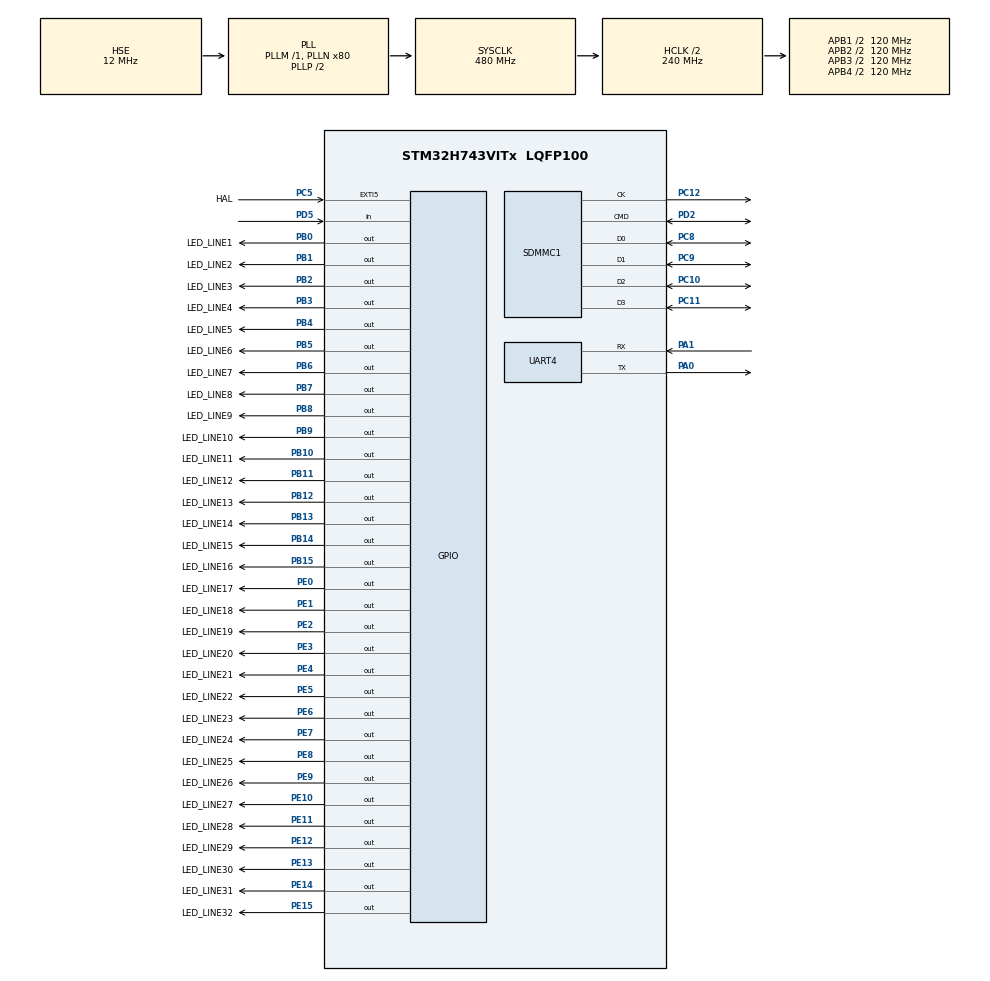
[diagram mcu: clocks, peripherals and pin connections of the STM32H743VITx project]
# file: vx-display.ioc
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CORTEX_M7.default_mode_Activation=1
Dma.DMA_GENERATOR0.0.Direction=DMA_MEMORY_TO_PERIPH
Dma.DMA_GENERATOR0.0.EventEnable=DISABLE
Dma.DMA_GENERATOR0.0.FIFOMode=DMA_FIFOMODE_DISABLE
Dma.DMA_GENERATOR0.0.Instance=DMA1_Stream0
Dma.DMA_GENERATOR0.0.MemDataAlignment=DMA_MDATAALIGN_BYTE
Dma.DMA_GENERATOR0.0.MemInc=DMA_MINC_ENABLE
Dma.DMA_GENERATOR0.0.Mode=DMA_NORMAL
Dma.DMA_GENERATOR0.0.PeriphDataAlignment=DMA_PDATAALIGN_BYTE
Dma.DMA_GENERATOR0.0.PeriphInc=DMA_PINC_DISABLE
Dma.DMA_GENERATOR0.0.Polarity=HAL_DMAMUX_REQ_GEN_RISING
Dma.DMA_GENERATOR0.0.Priority=DMA_PRIORITY_VERY_HIGH
Dma.DMA_GENERATOR0.0.RequestNumber=1
Dma.DMA_GENERATOR0.0.SignalID=NONE
Dma.DMA_GENERATOR0.0.SyncEnable=DISABLE
Dma.DMA_GENERATOR0.0.SyncPolarity=HAL_DMAMUX_SYNC_NO_EVENT
Dma.DMA_GENERATOR0.0.SyncRequestNumber=1
Dma.DMA_GENERATOR0.0.SyncSignalID=NONE
Dma.DMA_GENERATOR1.1.Direction=DMA_MEMORY_TO_PERIPH
Dma.DMA_GENERATOR1.1.EventEnable=DISABLE
Dma.DMA_GENERATOR1.1.FIFOMode=DMA_FIFOMODE_DISABLE
Dma.DMA_GENERATOR1.1.Instance=DMA1_Stream1
Dma.DMA_GENERATOR1.1.MemDataAlignment=DMA_MDATAALIGN_WORD
Dma.DMA_GENERATOR1.1.MemInc=DMA_MINC_ENABLE
Dma.DMA_GENERATOR1.1.Mode=DMA_NORMAL
Dma.DMA_GENERATOR1.1.PeriphDataAlignment=DMA_PDATAALIGN_WORD
Dma.DMA_GENERATOR1.1.PeriphInc=DMA_PINC_DISABLE
Dma.DMA_GENERATOR1.1.Polarity=HAL_DMAMUX_REQ_GEN_RISING
Dma.DMA_GENERATOR1.1.Priority=DMA_PRIORITY_VERY_HIGH
Dma.DMA_GENERATOR1.1.RequestNumber=1
Dma.DMA_GENERATOR1.1.SignalID=NONE
Dma.DMA_GENERATOR1.1.SyncEnable=DISABLE
Dma.DMA_GENERATOR1.1.SyncPolarity=HAL_DMAMUX_SYNC_NO_EVENT
Dma.DMA_GENERATOR1.1.SyncRequestNumber=1
Dma.DMA_GENERATOR1.1.SyncSignalID=NONE
Dma.Request0=DMA_GENERATOR0
Dma.Request1=DMA_GENERATOR1
Dma.Request2=TIM1_UP
Dma.Request3=TIM1_COM
Dma.Request4=TIM2_UP
Dma.Request5=UART4_RX
Dma.Request6=UART4_TX
Dma.TIM1_COM.3.Direction=DMA_PERIPH_TO_MEMORY
Dma.TIM1_COM.3.EventEnable=DISABLE
Dma.TIM1_COM.3.FIFOMode=DMA_FIFOMODE_DISABLE
Dma.TIM1_COM.3.Instance=DMA1_Stream3
Dma.TIM1_COM.3.MemDataAlignment=DMA_MDATAALIGN_HALFWORD
Dma.TIM1_COM.3.MemInc=DMA_MINC_ENABLE
Dma.TIM1_COM.3.Mode=DMA_NORMAL
Dma.TIM1_COM.3.PeriphDataAlignment=DMA_PDATAALIGN_HALFWORD
Dma.TIM1_COM.3.PeriphInc=DMA_PINC_DISABLE
Dma.TIM1_COM.3.Polarity=HAL_DMAMUX_REQ_GEN_RISING
Dma.TIM1_COM.3.Priority=DMA_PRIORITY_LOW
Dma.TIM1_COM.3.RequestNumber=1
Dma.TIM1_COM.3.SignalID=NONE
Dma.TIM1_COM.3.SyncEnable=DISABLE
Dma.TIM1_COM.3.SyncPolarity=HAL_DMAMUX_SYNC_NO_EVENT
Dma.TIM1_COM.3.SyncRequestNumber=1
Dma.TIM1_COM.3.SyncSignalID=NONE
Dma.TIM1_UP.2.Direction=DMA_MEMORY_TO_PERIPH
Dma.TIM1_UP.2.EventEnable=DISABLE
Dma.TIM1_UP.2.FIFOMode=DMA_FIFOMODE_DISABLE
Dma.TIM1_UP.2.Instance=DMA1_Stream2
Dma.TIM1_UP.2.MemDataAlignment=DMA_MDATAALIGN_WORD
Dma.TIM1_UP.2.MemInc=DMA_MINC_ENABLE
Dma.TIM1_UP.2.Mode=DMA_NORMAL
Dma.TIM1_UP.2.PeriphDataAlignment=DMA_PDATAALIGN_WORD
Dma.TIM1_UP.2.PeriphInc=DMA_PINC_DISABLE
Dma.TIM1_UP.2.Polarity=HAL_DMAMUX_REQ_GEN_RISING
Dma.TIM1_UP.2.Priority=DMA_PRIORITY_VERY_HIGH
Dma.TIM1_UP.2.RequestNumber=1
Dma.TIM1_UP.2.SignalID=NONE
Dma.TIM1_UP.2.SyncEnable=DISABLE
Dma.TIM1_UP.2.SyncPolarity=HAL_DMAMUX_SYNC_NO_EVENT
Dma.TIM1_UP.2.SyncRequestNumber=1
Dma.TIM1_UP.2.SyncSignalID=NONE
Dma.TIM2_UP.4.Direction=DMA_MEMORY_TO_PERIPH
Dma.TIM2_UP.4.EventEnable=DISABLE
Dma.TIM2_UP.4.FIFOMode=DMA_FIFOMODE_DISABLE
Dma.TIM2_UP.4.Instance=DMA1_Stream4
Dma.TIM2_UP.4.MemDataAlignment=DMA_MDATAALIGN_WORD
Dma.TIM2_UP.4.MemInc=DMA_MINC_ENABLE
Dma.TIM2_UP.4.Mode=DMA_NORMAL
Dma.TIM2_UP.4.PeriphDataAlignment=DMA_PDATAALIGN_WORD
Dma.TIM2_UP.4.PeriphInc=DMA_PINC_DISABLE
Dma.TIM2_UP.4.Polarity=HAL_DMAMUX_REQ_GEN_RISING
Dma.TIM2_UP.4.Priority=DMA_PRIORITY_VERY_HIGH
Dma.TIM2_UP.4.RequestNumber=1
Dma.TIM2_UP.4.SignalID=NONE
Dma.TIM2_UP.4.SyncEnable=DISABLE
Dma.TIM2_UP.4.SyncPolarity=HAL_DMAMUX_SYNC_NO_EVENT
Dma.TIM2_UP.4.SyncRequestNumber=1
Dma.TIM2_UP.4.SyncSignalID=NONE
Dma.UART4_RX.5.Direction=DMA_PERIPH_TO_MEMORY
Dma.UART4_RX.5.EventEnable=DISABLE
Dma.UART4_RX.5.FIFOMode=DMA_FIFOMODE_DISABLE
Dma.UART4_RX.5.Instance=DMA1_Stream5
Dma.UART4_RX.5.MemDataAlignment=DMA_MDATAALIGN_BYTE
Dma.UART4_RX.5.MemInc=DMA_MINC_ENABLE
Dma.UART4_RX.5.Mode=DMA_NORMAL
Dma.UART4_RX.5.PeriphDataAlignment=DMA_PDATAALIGN_BYTE
Dma.UART4_RX.5.PeriphInc=DMA_PINC_DISABLE
Dma.UART4_RX.5.Polarity=HAL_DMAMUX_REQ_GEN_RISING
Dma.UART4_RX.5.Priority=DMA_PRIORITY_LOW
Dma.UART4_RX.5.RequestNumber=1
Dma.UART4_RX.5.SignalID=NONE
Dma.UART4_RX.5.SyncEnable=DISABLE
Dma.UART4_RX.5.SyncPolarity=HAL_DMAMUX_SYNC_NO_EVENT
Dma.UART4_RX.5.SyncRequestNumber=1
Dma.UART4_RX.5.SyncSignalID=NONE
Dma.UART4_TX.6.Direction=DMA_MEMORY_TO_PERIPH
Dma.UART4_TX.6.EventEnable=DISABLE
Dma.UART4_TX.6.FIFOMode=DMA_FIFOMODE_DISABLE
Dma.UART4_TX.6.Instance=DMA1_Stream6
Dma.UART4_TX.6.MemDataAlignment=DMA_MDATAALIGN_BYTE
Dma.UART4_TX.6.MemInc=DMA_MINC_ENABLE
Dma.UART4_TX.6.Mode=DMA_NORMAL
Dma.UART4_TX.6.PeriphDataAlignment=DMA_PDATAALIGN_BYTE
Dma.UART4_TX.6.PeriphInc=DMA_PINC_DISABLE
Dma.UART4_TX.6.Polarity=HAL_DMAMUX_REQ_GEN_RISING
Dma.UART4_TX.6.Priority=DMA_PRIORITY_LOW
Dma.UART4_TX.6.RequestNumber=1
Dma.UART4_TX.6.SignalID=NONE
Dma.UART4_TX.6.SyncEnable=DISABLE
Dma.UART4_TX.6.SyncPolarity=HAL_DMAMUX_SYNC_NO_EVENT
Dma.UART4_TX.6.SyncRequestNumber=1
Dma.UART4_TX.6.SyncSignalID=NONE
FATFS.BSP.number=1
FATFS.USE_DMA_CODE_SD=1
FATFS._CODE_PAGE=437
FATFS._FS_EXFAT=1
FATFS._FS_TINY=0
FATFS._USE_LFN=2
FATFS0.BSP.STBoard=false
FATFS0.BSP.api=Unknown
FATFS0.BSP.instance=PD5
FATFS0.BSP.ip=GPIO
FATFS0.BSP.mode=Input
FATFS0.BSP.name=Detect_SDIO
FATFS0.BSP.solution=PD5
Mcu.Family=STM32H7
Mcu.Name=STM32H743VITx
Mcu.Package=LQFP100
NVIC.DMA1_Stream0_IRQn=true\:0\:0\:false\:false\:true\:true\:true\:true
NVIC.DMA1_Stream1_IRQn=true\:0\:0\:false\:false\:true\:true\:true\:true
NVIC.DMA1_Stream2_IRQn=true\:0\:0\:false\:false\:true\:false\:true\:true
NVIC.DMA1_Stream3_IRQn=true\:0\:0\:false\:false\:true\:false\:true\:true
NVIC.DMA1_Stream4_IRQn=true\:0\:0\:false\:false\:true\:false\:true\:true
NVIC.DMA1_Stream5_IRQn=true\:0\:0\:false\:false\:true\:false\:true\:true
NVIC.DMA1_Stream6_IRQn=true\:0\:0\:false\:false\:true\:false\:true\:true
NVIC.DMAMUX1_OVR_IRQn=true\:0\:0\:false\:false\:true\:false\:true\:true
NVIC.EXTI9_5_IRQn=true\:0\:0\:false\:false\:true\:true\:true\:true
NVIC.PriorityGroup=NVIC_PRIORITYGROUP_4
NVIC.SDMMC1_IRQn=true\:1\:0\:true\:false\:true\:true\:true\:true
NVIC.TIM3_IRQn=true\:1\:0\:true\:false\:true\:true\:true\:true
NVIC.UART4_IRQn=true\:3\:0\:true\:false\:true\:true\:true\:true
PA0.Mode=Asynchronous
PA0.Signal=UART4_TX
PA1.Mode=Asynchronous
PA1.Signal=UART4_RX
PA13\ (JTMS/SWDIO).Mode=Serial_Wire
PA13\ (JTMS/SWDIO).Signal=DEBUG_JTMS-SWDIO
PA14\ (JTCK/SWCLK).Mode=Serial_Wire
PA14\ (JTCK/SWCLK).Signal=DEBUG_JTCK-SWCLK
PB0.GPIO_Label=LED_LINE1
PB0.Signal=GPIO_Output
PB1.GPIO_Label=LED_LINE2
PB1.Signal=GPIO_Output
PB10.GPIO_Label=LED_LINE11
PB10.Signal=GPIO_Output
PB11.GPIO_Label=LED_LINE12
PB11.Signal=GPIO_Output
PB12.GPIO_Label=LED_LINE13
PB12.Signal=GPIO_Output
PB13.GPIO_Label=LED_LINE14
PB13.Signal=GPIO_Output
PB14.GPIO_Label=LED_LINE15
PB14.Signal=GPIO_Output
PB15.GPIO_Label=LED_LINE16
PB15.Signal=GPIO_Output
PB2.GPIO_Label=LED_LINE3
PB2.Signal=GPIO_Output
PB3\ (JTDO/TRACESWO).GPIO_Label=LED_LINE4
PB3\ (JTDO/TRACESWO).Signal=GPIO_Output
PB4\ (NJTRST).GPIO_Label=LED_LINE5
PB4\ (NJTRST).Signal=GPIO_Output
PB5.GPIO_Label=LED_LINE6
PB5.Signal=GPIO_Output
PB6.GPIO_Label=LED_LINE7
PB6.Signal=GPIO_Output
PB7.GPIO_Label=LED_LINE8
PB7.Signal=GPIO_Output
PB8.GPIO_Label=LED_LINE9
PB8.Signal=GPIO_Output
PB9.GPIO_Label=LED_LINE10
PB9.Signal=GPIO_Output
PC10.Mode=SD_4_bits_Wide_bus
PC10.Signal=SDMMC1_D2
PC11.Mode=SD_4_bits_Wide_bus
PC11.Signal=SDMMC1_D3
PC12.Mode=SD_4_bits_Wide_bus
PC12.Signal=SDMMC1_CK
PC5.GPIO_Label=HAL
PC5.GPIO_ModeDefaultEXTI=GPIO_MODE_IT_FALLING
PC5.Signal=GPXTI5
PC8.Mode=SD_4_bits_Wide_bus
PC8.Signal=SDMMC1_D0
PC9.Mode=SD_4_bits_Wide_bus
PC9.Signal=SDMMC1_D1
PD2.Mode=SD_4_bits_Wide_bus
PD2.Signal=SDMMC1_CMD
PD5.Signal=GPIO_Input
PE0.GPIO_Label=LED_LINE17
PE0.Signal=GPIO_Output
PE1.GPIO_Label=LED_LINE18
PE1.Signal=GPIO_Output
PE10.GPIO_Label=LED_LINE27
PE10.Signal=GPIO_Output
PE11.GPIO_Label=LED_LINE28
PE11.Signal=GPIO_Output
PE12.GPIO_Label=LED_LINE29
PE12.Signal=GPIO_Output
PE13.GPIO_Label=LED_LINE30
PE13.Signal=GPIO_Output
PE14.GPIO_Label=LED_LINE31
PE14.Signal=GPIO_Output
PE15.GPIO_Label=LED_LINE32
PE15.Signal=GPIO_Output
PE2.GPIO_Label=LED_LINE19
PE2.Signal=GPIO_Output
PE3.GPIO_Label=LED_LINE20
PE3.Signal=GPIO_Output
PE4.GPIO_Label=LED_LINE21
PE4.Signal=GPIO_Output
PE5.GPIO_Label=LED_LINE22
PE5.Signal=GPIO_Output
PE6.GPIO_Label=LED_LINE23
PE6.Signal=GPIO_Output
PE7.GPIO_Label=LED_LINE24
PE7.Signal=GPIO_Output
PE8.GPIO_Label=LED_LINE25
PE8.Signal=GPIO_Output
PE9.GPIO_Label=LED_LINE26
PE9.Signal=GPIO_Output
PH0-OSC_IN\ (PH0).Mode=HSE-External-Oscillator
PH0-OSC_IN\ (PH0).Signal=RCC_OSC_IN
PH1-OSC_OUT\ (PH1).Mode=HSE-External-Oscillator
PH1-OSC_OUT\ (PH1).Signal=RCC_OSC_OUT
ProjectManager.HeapSize=0x200
ProjectManager.StackSize=0x1000
ProjectManager.TargetToolchain=CMake
RCC.ADCFreq_Value=150000000
RCC.APB1Freq_Value=120000000
RCC.APB2Freq_Value=120000000
RCC.APB3Freq_Value=120000000
RCC.APB4Freq_Value=120000000
RCC.CortexFreq_Value=480000000
RCC.D1PPRE=RCC_APB3_DIV2
RCC.D2PPRE1=RCC_APB1_DIV2
RCC.D2PPRE2=RCC_APB2_DIV2
RCC.D3PPRE=RCC_APB4_DIV2
RCC.DIVM1=1
RCC.DIVM2=1
RCC.DIVN1=80
RCC.DIVN2=25
RCC.DIVQ1=3
RCC.DIVR2=3
RCC.EnbaleCSS=true
RCC.HCLKFreq_Value=240000000
RCC.HPRE=RCC_HCLK_DIV2
RCC.HSE_VALUE=12000000
RCC.PLL2FRACN=0
RCC.PLL3FRACN=0
RCC.PLLFRACN=0
RCC.PLLSourceVirtual=RCC_PLLSOURCE_HSE
RCC.SDMMC1CLockSelection=RCC_SDMMCCLKSOURCE_PLL2
RCC.SYSCLKFreq_VALUE=480000000
RCC.SYSCLKSource=RCC_SYSCLKSOURCE_PLLCLK
RCC.USBFreq_Value=320000000
RTC.Format=RTC_FORMAT_BIN
SDMMC1.ClockDiv=10
TIM1.Period=80
TIM2.Period=80
TIM3.Period=999
TIM3.Prescaler=239
VP_FATFS_VS_SDIO.Mode=SDIO
VP_MEMORYMAP_VS_MEMORYMAP.Mode=CurAppReg
VP_RTC_VS_RTC_Activate.Mode=RTC_Enabled
VP_RTC_VS_RTC_Calendar.Mode=RTC_Calendar
VP_TIM1_VS_ClockSourceINT.Mode=Internal
VP_TIM2_VS_ClockSourceINT.Mode=Internal
VP_TIM3_VS_ClockSourceINT.Mode=Internal
VP_TIM5_VS_ClockSourceINT.Mode=Internal
board=custom

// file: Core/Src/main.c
/* USER CODE BEGIN Header */
/**
  ******************************************************************************
  * @file           : main.c
  * @brief          : Main program body
  ******************************************************************************
  * @attention
  *
  * Copyright (c) 2026 STMicroelectronics.
  * All rights reserved.
  *
  * This software is licensed under terms that can be found in the LICENSE file
  * in the root directory of this software component.
  * If no LICENSE file comes with this software, it is provided AS-IS.
  *
  ******************************************************************************
  */
/* USER CODE END Header */
#include "main.h"
#include "dma.h"
#include "fatfs.h"
#include "rtc.h"
#include "sdmmc.h"
#include "tim.h"
#include "usart.h"
#include "gpio.h"

/* USER CODE BEGIN Includes */
#include "led_buffer.h"
#include "ws2812_driver.h"
#include "ws2812_code.h"
#include "ws2812_enable.h"
#include "ws2812_gpio.h"
#include "volume_buffer.h"
#include "volume_draw.h"
#include "volume_to_ws2812.h"
#include "volume_hall.h"
#include "motor_control.h"
#include <string.h>
#include <stdio.h>
#include "sd_animation.h"
#include "bt_commands.h"
#include "anim_player.h"
#include "anim_player_v2.h"
#include "anim_player_v3.h"
#include "slice_player.h"
#include "interaction_sphere.h"
#include "brush_mode.h"
#include "snake_game.h"

/* USER CODE END Includes */

/* USER CODE BEGIN PTD */
#define WS2812_TEST_LED_COUNT      24

/* 你使用 GPIOB 的 16 路和 GPIOD 的 16 路 */

/*
 * 这个值要等于你测试用 TIM 的计数频率，单位 MHz。
 *
 * 如果 TIM 计数频率是 200MHz，填 200。
 * 如果 TIM 计数频率是 100MHz，填 100。
 *
 * 你前面 TIM ARR=82 用于 0.416us slot，推测 TIM 频率大概率接近 200MHz，
 * 所以先用 200 测试。
 */
#define WS2812_TIM_TICKS_PER_US   80U

// WS2812 时序参数 @ 80MHz
// T0H = 350ns (28 ticks), T1H = 700ns (56 ticks)
// bit 周期统一 1.25us (100 ticks)
#define WS2812_T0H_TICKS       84U
#define WS2812_T1H_TICKS       168U
#define WS2812_BIT_TICKS       300U

#define WS2812_RESET_US        500U
/* USER CODE END PTD */

/* USER CODE BEGIN PV */
int flag_test=0;
extern TIM_HandleTypeDef htim1;
extern DMA_HandleTypeDef hdma_tim1_up;
extern TIM_HandleTypeDef htim2;
extern DMA_HandleTypeDef hdma_tim2_up;
#define WS2812_TEST_LED_COUNT      24
uint32_t s_phase_count  = 0;          // 累计渲染相位次数 (TIM3 ISR 引用)
static uint32_t s_last_count   = 0;          // 上一次上报时的计数
static uint32_t s_last_hw_ref   = 0;         // 上一次上报时的硬件刷新计数
static uint32_t s_last_hw_skp   = 0;         // 上一次上报时的跳过计数

// 蓝牙串口缓冲区 —— 必须放在 DMA 可访问的内存区域（DTCM 不行！）
static uint8_t rx_data[256] __attribute__((section(".RAM_D1")));
static uint8_t tx_buf[256] __attribute__((section(".RAM_D1")));

/*
 * 共享显示缓冲 (AXI SRAM, 225KB)
 * - 静态模式: slice_player 使用 (100片)
 * - 动画模式: anim_player 前端帧使用
 */
uint8_t g_display_buf[100 * 2304]
    __attribute__((section(".RAM_AXI"), used, aligned(32)));

/*
 * 共享 RAM_D2 缓冲 (225KB)
 * - :SAVE 模式: bt_commands 文件接收使用
 * - 动画模式: anim_player 后台帧使用
 */
uint8_t g_ramd2_buf[230416]
    __attribute__((section(".RAM_D1"), used, aligned(32)));
static uint32_t last_report_ticks = 0;   // 上一次蓝牙上报的 DWT 时间戳
static uint8_t  rx_needs_restart = 0;    // 标记：TX 完成后是否需要重启 RX
#define BT_REPORT_INTERVAL_US  1000000U  // 蓝牙状态上报间隔 1 秒

static volatile uint8_t is_need_reload_v3;  /* JE退出IS, 主循环重载V3 */

/* USER CODE END PV */

void SystemClock_Config(void);
static void MPU_Config(void);

int main(void)
{

  /* MPU Configuration--------------------------------------------------------*/
  MPU_Config();

  /* MCU Configuration--------------------------------------------------------*/

  /* Reset of all peripherals, Initializes the Flash interface and the Systick. */
  HAL_Init();

  /* Configure the system clock */
  SystemClock_Config();

  /* USER CODE BEGIN SysInit */
    SCB_EnableICache();
    SCB_EnableDCache();

    /* MPU: AXI SRAM (0x24000000) 设不可缓存, SDMMC IDMA 区不走 cache */
    {
        MPU_Region_InitTypeDef MPU_InitStruct = {0};
        HAL_MPU_Disable();
        /* Region 0 保持 CubeMX 原样 */
        MPU_InitStruct.Enable = MPU_REGION_ENABLE;
        MPU_InitStruct.Number = MPU_REGION_NUMBER0;
        MPU_InitStruct.BaseAddress = 0x0;
        MPU_InitStruct.Size = MPU_REGION_SIZE_4GB;
        MPU_InitStruct.SubRegionDisable = 0x87;
        MPU_InitStruct.TypeExtField = MPU_TEX_LEVEL0;
        MPU_InitStruct.AccessPermission = MPU_REGION_NO_ACCESS;
        MPU_InitStruct.DisableExec = MPU_INSTRUCTION_ACCESS_DISABLE;
        MPU_InitStruct.IsShareable = MPU_ACCESS_SHAREABLE;
        MPU_InitStruct.IsCacheable = MPU_ACCESS_NOT_CACHEABLE;
        MPU_InitStruct.IsBufferable = MPU_ACCESS_NOT_BUFFERABLE;
        HAL_MPU_ConfigRegion(&MPU_InitStruct);
        /* Region 1: AXI SRAM 不可缓存 */
        MPU_InitStruct.Number = MPU_REGION_NUMBER1;
        MPU_InitStruct.BaseAddress = 0x24000000;
        MPU_InitStruct.Size = MPU_REGION_SIZE_512KB;
        MPU_InitStruct.SubRegionDisable = 0x00;
        MPU_InitStruct.AccessPermission = MPU_REGION_FULL_ACCESS;
        MPU_InitStruct.DisableExec = MPU_INSTRUCTION_ACCESS_ENABLE;
        MPU_InitStruct.IsShareable = MPU_ACCESS_NOT_SHAREABLE;
        MPU_InitStruct.IsCacheable = MPU_ACCESS_NOT_CACHEABLE;
        MPU_InitStruct.IsBufferable = MPU_ACCESS_NOT_BUFFERABLE;
        HAL_MPU_ConfigRegion(&MPU_InitStruct);
        HAL_MPU_Enable(MPU_PRIVILEGED_DEFAULT);
    }
  /* USER CODE END SysInit */

  /* Initialize all configured peripherals */
  MX_GPIO_Init();
  MX_DMA_Init();
  MX_TIM1_Init();
  MX_TIM2_Init();
  MX_UART4_Init();
  MX_SDMMC1_SD_Init();
  MX_TIM5_Init();
  MX_FATFS_Init();
  MX_RTC_Init();
  MX_TIM3_Init();
  /* USER CODE BEGIN 2 */
    HAL_Delay(500); // 等待系统稳定
    VolumeHall_Init();                 // 启动 TIM5 + DWT + 霍尔计数
    MotorControl_Init();              // 启动电机转速计算
    VolumeToWS2812_Init();
    int ret = SD_LoadStaticModel("chiken.bin");
    if (ret != 0) {
        while (1) { __disable_irq(); }
    }

  /* 切片加载必须在 UART DMA 启动之前，避免 BLE 中断干扰 SD 卡读 */
  /*
   * SDMMC IDMA → RAM_D2 写入测试。
   * 验证 f_read 目标缓冲放在 RAM_D2 (0x30000000) 时 IDMA 是否能
   * 正确写入。失败时 MCU 停在此处。
   */
  {
      static uint8_t test_buf[16] __attribute__((section(".RAM_D1")));
      static FIL     test_fp __attribute__((section(".RAM_AXI")));
      UINT           br;
      if (f_open(&test_fp, "chiken.bin", FA_READ) != FR_OK
          || f_read(&test_fp, test_buf, 16, &br) != FR_OK
          || br != 16
          || memcmp(test_buf, "VXAN", 4) != 0) {
          while (1) { __disable_irq(); }
      }
      f_close(&test_fp);
  }

  SlicePlayer_Load("chiken.slices");  /* 确保 FS 已挂载 */

  if (AnimV3_Load("dna_v3_3t.slices") != 0) {
    if (AnimV2_Load("anim_rainbow.slices") != 0) {
      if (AnimPlayer_Load("anim_rainbow.slices") != 0) {
          /* V3/V2/V1动画均失败, 继续用静态 (SlicePlayer 已激活) */
      }
    }
  }

  IS_Init();  /* 粒子球交互系统: 预计算粒子 + 初始化双缓冲 */
  Brush_Init();  /* 3D画笔模式: 画布 + 光标 */
  Snake_Init();  /* 3D贪吃蛇游戏 */
  // TIM3 驱动相位刷新: 初始 1917us (313RPM 等效), 稳速后由霍尔自动更新
  htim3.Instance->ARR = 999;   // 1MHz tick, ARR+1=1000µs → 600RPM 默认
  __HAL_TIM_SET_COUNTER(&htim3, 0);
  HAL_TIM_Base_Start_IT(&htim3);
//   HAL_Delay(100);
//   HAL_UART_Transmit(&huart4, (uint8_t*)"AT+TRANMD=1", 11, 100);
//   HAL_Delay(100);
//   HAL_UART_Transmit(&huart4, (uint8_t*)"AT+RESET", 8, 100);
//   HAL_Delay(500);
  /* 蓝牙模块 AT 配置
  // HAL_UART_Transmit(&huart4, (uint8_t*)"AT", 2, 100);           // 测试通信（不需 +++）
  // HAL_Delay(100);
  // HAL_UART_Transmit(&huart4, (uint8_t*)"AT+ROLE=0", 9, 100);     // 从机模式
  // HAL_Delay(100);
  // HAL_UART_Transmit(&huart4, (uint8_t*)"AT+ADV=1", 8, 100);      // 开启广播
  // HAL_Delay(100);
  // HAL_UART_Transmit(&huart4, (uint8_t*)"AT+TRANMD=1", 11, 100);  // 透传模式（关键！)
  // HAL_Delay(100);
  // HAL_UART_Transmit(&huart4, (uint8_t*)"AT+RESET", 8, 100);      // 重启生效
  // HAL_Delay(500);*/
  // 使用Ex函数，接收不定长数据，开启蓝牙接收数据功能
  HAL_UARTEx_ReceiveToIdle_DMA(&huart4, rx_data, sizeof(rx_data));
  // 关闭DMA传输过半中断（HAL库默认开启，但我们只需要接收完成中断）
  __HAL_DMA_DISABLE_IT(huart4.hdmarx, DMA_IT_HT);

  last_report_ticks = DWT->CYCCNT;  // 初始化蓝牙上报时间戳

  /* USER CODE END 2 */

  /* Infinite loop */
  /* USER CODE BEGIN WHILE */
  while (1)
  {
    /* 相位由 TIM3 硬件触发, 主循环只做 IO */

    BT_PollVoxelReady();
    BT_PollCommands();
    BT_PollSaveFile();

    AnimV3_ProcessSwap();
    AnimV2_ProcessSwap();
    AnimPlayer_ProcessSwap();
    IS_Update();
    Brush_Update();
    Snake_Update();

    if (is_need_reload_v3) {
        is_need_reload_v3 = 0;
        AnimV3_Load("anim_rainbow.slices");
    }

    /* 稳速时更新 TIM3 相位间隔 */
    if (MotorControl_IsStable()) {
        uint32_t interval_us = MotorControl_GetPhaseIntervalUs();
        if (interval_us > 0 && interval_us <= 65535) {
            htim3.Instance->ARR = interval_us - 1;
        }
    }

    AnimV3_PollAsyncLoad();
    // 优先发送 BT 指令产生的待发送回复（如 VOX:OK）
    if (BT_HasResponse() && huart4.hdmatx->State == HAL_DMA_STATE_READY
        && !rx_needs_restart)
    {
        uint16_t n = BT_GetResponseSize();
        memcpy(tx_buf, BT_GetResponse(), n);
        BT_ClearResponse();
        SCB_CleanDCache_by_Addr((uint32_t*)tx_buf, sizeof(tx_buf));
        HAL_UART_Transmit_DMA(&huart4, tx_buf, n);
    }

    // 蓝牙周期性上报转速和延时（每秒一次，TX DMA 空闲才发）
    {
        uint32_t now = DWT->CYCCNT;
        if (now - last_report_ticks >= BT_REPORT_INTERVAL_US * 480U)
        {
            last_report_ticks = now;
        if (huart4.hdmatx->State == HAL_DMA_STATE_READY)
        {
            uint16_t rpm_inst = VolumeHall_GetRPM();               // 瞬时转速
            uint8_t  full     = MotorControl_IsWindowFull();        // 窗口是否满
            uint8_t  stable   = MotorControl_IsStable();            // 稳速标志
            uint32_t hw_now  = WS2812_GetRefreshCount();
            uint32_t sk_now  = WS2812_GetSkipCount();
            int32_t  svp      = BT_GetSaveProgress();
            int len = snprintf((char*)tx_buf, sizeof(tx_buf),
                               "RPM:%u PPS:%lu HPS:%lu SKP:%lu BUS:%lu FILL:%lu F:%u S:%u",
                               rpm_inst,
                               (s_phase_count - s_last_count),
                               (hw_now - s_last_hw_ref),
                               (sk_now - s_last_hw_skp),
                               WS2812_GetBusyMaxUs(),
                               WS2812_GetFillMaxUs(),
                               full, stable);
            if (svp >= 0) {
                len += snprintf((char*)tx_buf + len, sizeof(tx_buf) - len,
                                " SVP:%ld/%lu",
                                (long)svp, (unsigned long)BT_GetSaveTotal());
            }
            if (AnimV3_IsActive()) {
                len += snprintf((char*)tx_buf + len, sizeof(tx_buf) - len,
                                " EXP:%lu BR:%u F:0x%02X SW:%lu LD:%lu LK:%lu FR:%lu MS:%lu ER:%u FO:%lu",
                                (unsigned long)AnimV3_GetExpandUs(),
                                (unsigned int)AnimV3_GetBrightness(),
                                (unsigned int)AnimV3_GetDiagFlags(),
                                (unsigned long)AnimV3_GetDiagSwapOk(),
                                (unsigned long)AnimV3_GetDiagLoadOk(),
                                (unsigned long)AnimV3_GetDiagLseekFail(),
                                (unsigned long)AnimV3_GetDiagFreadFail(),
                                (unsigned long)AnimV3_GetDiagSwapMissed(),
                                (unsigned int)AnimV3_GetDiagFrErr(),
                                (unsigned long)AnimV3_GetDiagFrOff());
            } else if (AnimV2_IsActive()) {
                len += snprintf((char*)tx_buf + len, sizeof(tx_buf) - len,
                                " EXP:%lu BR:%u",
                                (unsigned long)AnimV2_GetExpandUs(),
                                (unsigned int)AnimV2_GetBrightness());
            } else if (Snake_IsActive()) {
                len += Snake_GetDiag((char*)tx_buf + len,
                                     (uint16_t)(sizeof(tx_buf) - len));
            } else if (Brush_IsActive()) {
                len += Brush_GetDiag((char*)tx_buf + len,
                                     (uint16_t)(sizeof(tx_buf) - len));
            } else if (IS_IsActive()) {
                len += snprintf((char*)tx_buf + len, sizeof(tx_buf) - len,
                                " IS_R:%u T:%d BR:%u F:0x%02X US:%lu"
                                " RND:%lu HAL:%lu SWP:%lu GEN:%lu PRT:%u",
                                (unsigned int)IS_GetRadius(),
                                (int)IS_GetColorTemp(),
                                (unsigned int)IS_GetBrightness(),
                                (unsigned int)IS_GetFlags(),
                                (unsigned long)IS_GetExpandUs(),
                                (unsigned long)IS_GetDiagRenderCalls(),
                                (unsigned long)IS_GetDiagHallEdges(),
                                (unsigned long)IS_GetDiagSwaps(),
                                (unsigned long)IS_GetDiagGenerations(),
                                (unsigned int)IS_GetDiagParticlesSet());
            }
            len += snprintf((char*)tx_buf + len, sizeof(tx_buf) - len, "\r\n");
            s_last_count   = s_phase_count;
            s_last_hw_ref  = hw_now;
            s_last_hw_skp  = sk_now;
            SCB_CleanDCache_by_Addr((uint32_t*)tx_buf, sizeof(tx_buf));
            HAL_UART_Transmit_DMA(&huart4, tx_buf, len);
        }

    }
    }
    /* USER CODE END WHILE */

  }
}

void SystemClock_Config(void)
{
  RCC_OscInitTypeDef RCC_OscInitStruct = {0};
  RCC_ClkInitTypeDef RCC_ClkInitStruct = {0};

  /** Supply configuration update enable
  */
  HAL_PWREx_ConfigSupply(PWR_LDO_SUPPLY);

  /** Configure the main internal regulator output voltage
  */
  __HAL_PWR_VOLTAGESCALING_CONFIG(PWR_REGULATOR_VOLTAGE_SCALE0);

  while(!__HAL_PWR_GET_FLAG(PWR_FLAG_VOSRDY)) {}

  /** Initializes the RCC Oscillators according to the specified parameters
  * in the RCC_OscInitTypeDef structure.
  */
  RCC_OscInitStruct.OscillatorType = RCC_OSCILLATORTYPE_LSI|RCC_OSCILLATORTYPE_HSE;
  RCC_OscInitStruct.HSEState = RCC_HSE_ON;
  RCC_OscInitStruct.LSIState = RCC_LSI_ON;
  RCC_OscInitStruct.PLL.PLLState = RCC_PLL_ON;
  RCC_OscInitStruct.PLL.PLLSource = RCC_PLLSOURCE_HSE;
  RCC_OscInitStruct.PLL.PLLM = 1;
  RCC_OscInitStruct.PLL.PLLN = 80;
  RCC_OscInitStruct.PLL.PLLP = 2;
  RCC_OscInitStruct.PLL.PLLQ = 3;
  RCC_OscInitStruct.PLL.PLLR = 2;
  RCC_OscInitStruct.PLL.PLLRGE = RCC_PLL1VCIRANGE_3;
  RCC_OscInitStruct.PLL.PLLVCOSEL = RCC_PLL1VCOWIDE;
  RCC_OscInitStruct.PLL.PLLFRACN = 0;
  if (HAL_RCC_OscConfig(&RCC_OscInitStruct) != HAL_OK)
  {
    Error_Handler();
  }

  /** Initializes the CPU, AHB and APB buses clocks
  */
  RCC_ClkInitStruct.ClockType = RCC_CLOCKTYPE_HCLK|RCC_CLOCKTYPE_SYSCLK
                              |RCC_CLOCKTYPE_PCLK1|RCC_CLOCKTYPE_PCLK2
                              |RCC_CLOCKTYPE_D3PCLK1|RCC_CLOCKTYPE_D1PCLK1;
  RCC_ClkInitStruct.SYSCLKSource = RCC_SYSCLKSOURCE_PLLCLK;
  RCC_ClkInitStruct.SYSCLKDivider = RCC_SYSCLK_DIV1;
  RCC_ClkInitStruct.AHBCLKDivider = RCC_HCLK_DIV2;
  RCC_ClkInitStruct.APB3CLKDivider = RCC_APB3_DIV2;
  RCC_ClkInitStruct.APB1CLKDivider = RCC_APB1_DIV2;
  RCC_ClkInitStruct.APB2CLKDivider = RCC_APB2_DIV2;
  RCC_ClkInitStruct.APB4CLKDivider = RCC_APB4_DIV2;

  if (HAL_RCC_ClockConfig(&RCC_ClkInitStruct, FLASH_LATENCY_4) != HAL_OK)
  {
    Error_Handler();
  }

  /** Enables the Clock Security System
  */
  HAL_RCC_EnableCSS();
}

/* USER CODE BEGIN 4 */
void HAL_GPIO_EXTI_Callback(uint16_t GPIO_Pin)
{
    if (GPIO_Pin == HAL_Pin)
    {
        VolumeHall_OnTrigger();          // 记录时间戳
        MotorControl_ProcessHallTick();   // 更新转速计算
        VolumeToWS2812_OnHallEdge();      // 复位相位到 0，同步电机位置
        SlicePlayer_OnHallEdge();         // 切片播放器同步
        AnimPlayer_OnHallEdge();          // 动画播放器同步
        AnimV3_OnHallEdge();             // V3动画播放器同步
        AnimV2_OnHallEdge();             // V2动画播放器同步
        IS_OnHallEdge();                 // 粒子球交互同步
        Brush_OnHallEdge();              // 画笔模式同步
        Snake_OnHallEdge();              // 贪吃蛇同步
    }
}
// 不定长数据接收完成回调函数（空闲线检测触发）
void HAL_UARTEx_RxEventCallback(UART_HandleTypeDef *huart, uint16_t Size)
{
    if (huart->Instance == UART4)
    {
        // DMA 写了 rx_data，CPU 读之前必须先 invalidate D-Cache
        SCB_InvalidateDCache_by_Addr((uint32_t*)rx_data, sizeof(rx_data));

        /* 文件接收模式: 追加数据到文件缓冲，不解析指令 */
        if (BT_IsSaveReceiving()) {
            BT_FeedFileData(rx_data, Size);
            /* 重启空闲DMA接收下一段 */
            SCB_CleanInvalidateDCache_by_Addr((uint32_t*)rx_data, sizeof(rx_data));
            HAL_UARTEx_ReceiveToIdle_DMA(&huart4, rx_data, sizeof(rx_data));
            __HAL_DMA_DISABLE_IT(huart4.hdmarx, DMA_IT_HT);
            return;
        }

        /* 摇杆指令 */
        if (Size >= 2 && rx_data[0] == 'J') {
            /* JK=切颜色 (IS和Brush共用) */
            if (rx_data[1] == 'K') {
                if (Brush_IsActive())
                    Brush_CycleColor();
                else if (IS_IsActive())
                    IS_CycleColor();
                SCB_CleanInvalidateDCache_by_Addr((uint32_t*)rx_data, sizeof(rx_data));
                HAL_UARTEx_ReceiveToIdle_DMA(&huart4, rx_data, sizeof(rx_data));
                __HAL_DMA_DISABLE_IT(huart4.hdmarx, DMA_IT_HT);
                return;
            }
            /* 贪吃蛇模式优先 */
            if (Snake_HandleJoy(rx_data, Size)) {
                SCB_CleanInvalidateDCache_by_Addr((uint32_t*)rx_data, sizeof(rx_data));
                HAL_UARTEx_ReceiveToIdle_DMA(&huart4, rx_data, sizeof(rx_data));
                __HAL_DMA_DISABLE_IT(huart4.hdmarx, DMA_IT_HT);
                return;
            }
            /* 画笔模式: 处理移动/按钮/画笔/退出 */
            if (Brush_HandleJoy(rx_data, Size)) {
                SCB_CleanInvalidateDCache_by_Addr((uint32_t*)rx_data, sizeof(rx_data));
                HAL_UARTEx_ReceiveToIdle_DMA(&huart4, rx_data, sizeof(rx_data));
                __HAL_DMA_DISABLE_IT(huart4.hdmarx, DMA_IT_HT);
                return;
            }
            /* JE = 退出当前交互模式 (画笔已在上方Brush_HandleJoy处理) */
            if (rx_data[1] == 'E') {
                if (IS_IsActive()) { IS_Deactivate(); is_need_reload_v3 = 1; }
                SCB_CleanInvalidateDCache_by_Addr((uint32_t*)rx_data, sizeof(rx_data));
                HAL_UARTEx_ReceiveToIdle_DMA(&huart4, rx_data, sizeof(rx_data));
                __HAL_DMA_DISABLE_IT(huart4.hdmarx, DMA_IT_HT);
                return;
            }
            /* 画笔/贪吃蛇激活时不触发IS */
            if (Brush_IsActive() || Snake_IsActive()) {
                SCB_CleanInvalidateDCache_by_Addr((uint32_t*)rx_data, sizeof(rx_data));
                HAL_UARTEx_ReceiveToIdle_DMA(&huart4, rx_data, sizeof(rx_data));
                __HAL_DMA_DISABLE_IT(huart4.hdmarx, DMA_IT_HT);
                return;
            }
            /* IS 粒子球: 首次摇杆自动激活 */
            if (!IS_IsActive()) {
                AnimV3_Deactivate();
                IS_Activate();
            }
            if (rx_data[1] == '+') {
                IS_SetRotation(1);
            } else if (rx_data[1] == '-') {
                IS_SetRotation(-1);
            } else if (rx_data[1] == 'T' && Size >= 4) {
                int sign = 1, idx = 2; int8_t val = 0;
                if (rx_data[idx] == '-') { sign = -1; idx++; }
                while (idx < (int)Size && rx_data[idx] >= '0' && rx_data[idx] <= '9')
                    val = (int8_t)(val * 10 + (rx_data[idx++] - '0'));
                IS_SetColorTemp((int8_t)(sign * val));
            }
            /* 消耗指令, 重启DMA接收 */
            SCB_CleanInvalidateDCache_by_Addr((uint32_t*)rx_data, sizeof(rx_data));
            HAL_UARTEx_ReceiveToIdle_DMA(&huart4, rx_data, sizeof(rx_data));
            __HAL_DMA_DISABLE_IT(huart4.hdmarx, DMA_IT_HT);
            return;
        }

        /* :SNAKE 或 SNAKE 激活贪吃蛇模式 */
        {
            const uint8_t *cmd = NULL;
            uint8_t cmd_len = 0;
            if (Size >= 6 && memcmp(rx_data, ":SNAKE", 6) == 0)
                { cmd = rx_data; cmd_len = 6; }
            else if (Size >= 5 && memcmp(rx_data, "SNAKE", 5) == 0)
                { cmd = rx_data; cmd_len = 5; }
            if (cmd && (Size == cmd_len || rx_data[cmd_len] == '\n' || rx_data[cmd_len] == '\r')) {
                if (!Snake_IsActive()) {
                    if (IS_IsActive()) IS_Deactivate();
                    Brush_Deactivate();
                    AnimV3_Deactivate();
                    Snake_Activate();
                }
                SCB_CleanInvalidateDCache_by_Addr((uint32_t*)rx_data, sizeof(rx_data));
                HAL_UARTEx_ReceiveToIdle_DMA(&huart4, rx_data, sizeof(rx_data));
                __HAL_DMA_DISABLE_IT(huart4.hdmarx, DMA_IT_HT);
                return;
            }
        }

        /* :BRUSH 或 BRUSH 激活画笔模式 (允许无冒号) */
        {
            const uint8_t *cmd = NULL;
            uint8_t cmd_len = 0;
            if (Size >= 6 && memcmp(rx_data, ":BRUSH", 6) == 0) {
                cmd = rx_data; cmd_len = 6;
            } else if (Size >= 5 && memcmp(rx_data, "BRUSH", 5) == 0) {
                cmd = rx_data; cmd_len = 5;
            }
            if (cmd && (Size == cmd_len || rx_data[cmd_len] == '\n' || rx_data[cmd_len] == '\r')) {
                if (!Brush_IsActive()) {
                    if (IS_IsActive()) IS_Deactivate();
                    AnimV3_Deactivate();
                    Brush_Activate();
                }
                SCB_CleanInvalidateDCache_by_Addr((uint32_t*)rx_data, sizeof(rx_data));
                HAL_UARTEx_ReceiveToIdle_DMA(&huart4, rx_data, sizeof(rx_data));
                __HAL_DMA_DISABLE_IT(huart4.hdmarx, DMA_IT_HT);
                return;
            }
        }

        /* :CLEAR 或 CLEAR 清空画布 */
        {
            const uint8_t *cmd = NULL;
            uint8_t cmd_len = 0;
            if (Size >= 6 && memcmp(rx_data, ":CLEAR", 6) == 0) {
                cmd = rx_data; cmd_len = 6;
            } else if (Size >= 5 && memcmp(rx_data, "CLEAR", 5) == 0) {
                cmd = rx_data; cmd_len = 5;
            }
            if (cmd && (Size == cmd_len || rx_data[cmd_len] == '\n' || rx_data[cmd_len] == '\r')) {
                Brush_ClearCanvas();
                SCB_CleanInvalidateDCache_by_Addr((uint32_t*)rx_data, sizeof(rx_data));
                HAL_UARTEx_ReceiveToIdle_DMA(&huart4, rx_data, sizeof(rx_data));
                __HAL_DMA_DISABLE_IT(huart4.hdmarx, DMA_IT_HT);
                return;
            }
        }

        /* :BRIGHT 指令: IS模式下直接拦截, 不经过BT_ProcessCommand */
        if (Size >= 8 && IS_IsActive() && memcmp(rx_data, ":BRIGHT ", 8) == 0) {
            uint32_t val = 0;
            int i = 8;
            while (i < (int)Size && rx_data[i] >= '0' && rx_data[i] <= '9')
                val = val * 10 + (rx_data[i++] - '0');
            if (val >= 1 && val <= 100)
                IS_SetBrightness((uint8_t)val);
            SCB_CleanInvalidateDCache_by_Addr((uint32_t*)rx_data, sizeof(rx_data));
            HAL_UARTEx_ReceiveToIdle_DMA(&huart4, rx_data, sizeof(rx_data));
            __HAL_DMA_DISABLE_IT(huart4.hdmarx, DMA_IT_HT);
            return;
        }

        /* 先尝试作为指令处理 */
        if (BT_ProcessCommand(rx_data, Size)) {
            /* 指令已处理，检查是否有回复需要发送 */
            if (BT_HasResponse()) {
                uint16_t n = BT_GetResponseSize();
                memcpy(tx_buf, BT_GetResponse(), n);
                BT_ClearResponse();
                SCB_CleanDCache_by_Addr((uint32_t*)tx_buf, sizeof(tx_buf));
                rx_needs_restart = 1;
                HAL_UART_Transmit_DMA(&huart4, tx_buf, n);
            } else if (!BT_IsReceiving()) {
                /* 无需回复且不在接收模式: 重启空闲DMA */
                SCB_CleanInvalidateDCache_by_Addr((uint32_t*)rx_data, sizeof(rx_data));
                HAL_UARTEx_ReceiveToIdle_DMA(&huart4, rx_data, sizeof(rx_data));
                __HAL_DMA_DISABLE_IT(huart4.hdmarx, DMA_IT_HT);
            }
            /* BT_IsReceiving() 为真时不重启 —— 固定长度DMA已接管 */
        } else {
            /* 非指令，按原逻辑回传 */
            memcpy(tx_buf, rx_data, Size);
            SCB_CleanDCache_by_Addr((uint32_t*)tx_buf, sizeof(tx_buf));
            rx_needs_restart = 1;
            HAL_UART_Transmit_DMA(&huart4, tx_buf, Size);
        }
    }
}

// DMA 发送完成回调 —— 收发完成后重新打开空闲DMA接收
void HAL_UART_TxCpltCallback(UART_HandleTypeDef *huart)
{
    if (huart->Instance == UART4)
    {
        if (rx_needs_restart)
        {
            rx_needs_restart = 0;
            SCB_CleanInvalidateDCache_by_Addr((uint32_t*)rx_data, sizeof(rx_data));
            HAL_UARTEx_ReceiveToIdle_DMA(&huart4, rx_data, sizeof(rx_data));
            __HAL_DMA_DISABLE_IT(huart4.hdmarx, DMA_IT_HT);
        }
    }
}

// 固定长度DMA接收完成回调 —— 体素数据收完
void HAL_UART_RxCpltCallback(UART_HandleTypeDef *huart)
{
    if (huart->Instance != UART4) return;

    BT_OnRxComplete(huart);

    /* 发送回复并恢复空闲DMA */
    if (BT_HasResponse()) {
        /* TX DMA 可能正忙（周期上报），若忙则跳过回复 */
        if (huart4.hdmatx->State == HAL_DMA_STATE_READY) {
            uint16_t n = BT_GetResponseSize();
            memcpy(tx_buf, BT_GetResponse(), n);
            BT_ClearResponse();
            SCB_CleanDCache_by_Addr((uint32_t*)tx_buf, sizeof(tx_buf));
            rx_needs_restart = 1;
            HAL_UART_Transmit_DMA(&huart4, tx_buf, n);
        } else {
            BT_ClearResponse();
            rx_needs_restart = 1;
            /* TX 完成回调会重启空闲 DMA */
        }
    }
}
// SD 卡检测 —— 强制永远在线
uint8_t BSP_SD_IsDetected(void)
{
    return SD_PRESENT;
}

// SD 卡初始化 —— 卡已在 TRANSFER, 只变 CLKCR 时钟分频, 不调 ConfigWideBusOperation
uint8_t BSP_SD_Init(void)
{
    if (BSP_SD_IsDetected() != SD_PRESENT)
        return MSD_ERROR_SD_NOT_PRESENT;

    hsd1.ErrorCode = HAL_SD_ERROR_NONE;
    __HAL_SD_CLEAR_FLAG(&hsd1, SDMMC_STATIC_FLAGS);

    /* 只改 ClockDiv, 保持 InitCard 的 1-bit 模式, 不动 POWER */
    hsd1.Instance->CLKCR = (hsd1.Instance->CLKCR & ~0x3FFFU)
                         | (hsd1.Init.ClockDiv & 0x3FFFU);

    return MSD_OK;
}
/* USER CODE END 4 */

 /* MPU Configuration */

void MPU_Config(void)
{
  MPU_Region_InitTypeDef MPU_InitStruct = {0};

  /* Disables the MPU */
  HAL_MPU_Disable();

  /** Initializes and configures the Region and the memory to be protected
  */
  MPU_InitStruct.Enable = MPU_REGION_ENABLE;
  MPU_InitStruct.Number = MPU_REGION_NUMBER0;
  MPU_InitStruct.BaseAddress = 0x0;
  MPU_InitStruct.Size = MPU_REGION_SIZE_4GB;
  MPU_InitStruct.SubRegionDisable = 0x87;
  MPU_InitStruct.TypeExtField = MPU_TEX_LEVEL0;
  MPU_InitStruct.AccessPermission = MPU_REGION_NO_ACCESS;
  MPU_InitStruct.DisableExec = MPU_INSTRUCTION_ACCESS_DISABLE;
  MPU_InitStruct.IsShareable = MPU_ACCESS_SHAREABLE;
  MPU_InitStruct.IsCacheable = MPU_ACCESS_NOT_CACHEABLE;
  MPU_InitStruct.IsBufferable = MPU_ACCESS_NOT_BUFFERABLE;

  HAL_MPU_ConfigRegion(&MPU_InitStruct);
  /* Enables the MPU */
  HAL_MPU_Enable(MPU_PRIVILEGED_DEFAULT);

}

void Error_Handler(void)
{
  __disable_irq();
  while (1)
  {
  }
}
